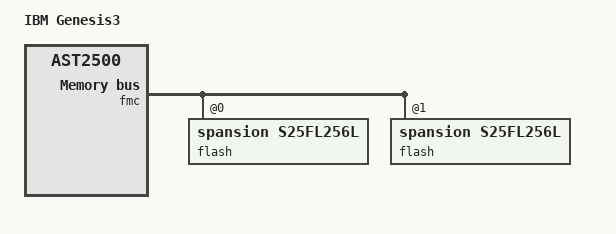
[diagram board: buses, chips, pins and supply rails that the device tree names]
// SPDX-License-Identifier: GPL-2.0+
/*
 * IBM Genesis3
 *
 * Copyright (C) 2022 9elements GmbH
 */

#include "ast2500-evb.dts"

/ {
	model = "IBM Genesis3";
	compatible = "ibm,genesis3-bmc", "aspeed,ast2500";
};

&spi1 {
	status = "disabled";
};

&fmc {
	flash@0 {
		compatible = "spansion,s25fl256l", "spi-flash";
	};

	flash@1 {
		compatible = "spansion,s25fl256l", "spi-flash";
	};
};

